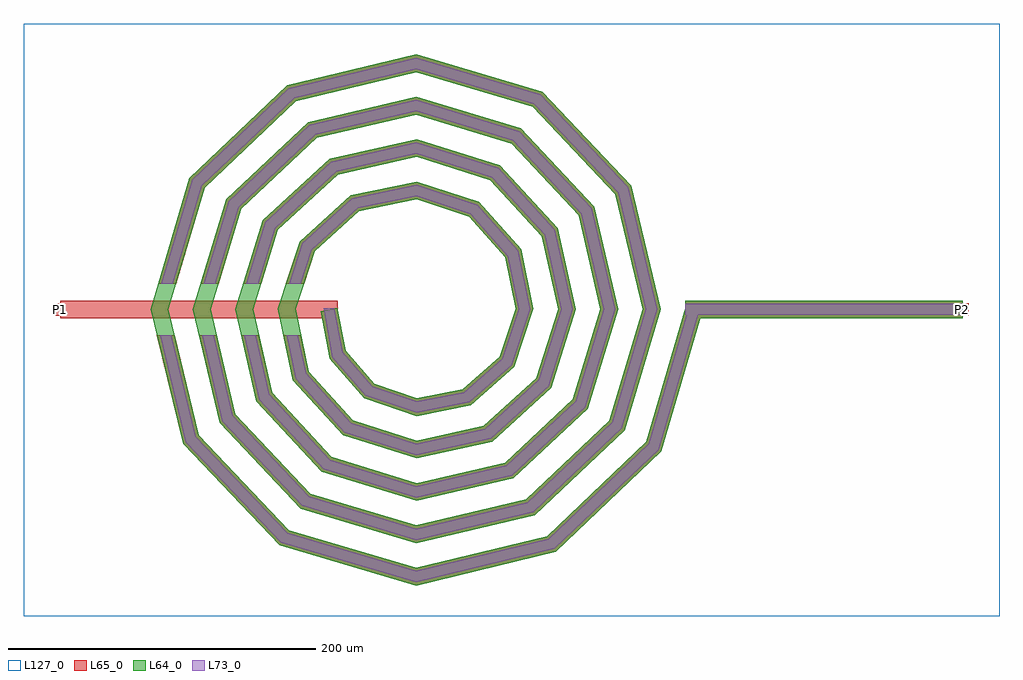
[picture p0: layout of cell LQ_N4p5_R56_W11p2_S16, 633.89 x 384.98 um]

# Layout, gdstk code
import gdstk
lib = gdstk.Library(unit=1e-6, precision=1e-09)
def R(c, l, rs):  # rectangles x0, y0, x1, y1
    for r in rs: c.add(gdstk.rectangle(r[:2], r[2:], *l))
def P(c, l, *ps):  # polygons
    for p in ps: c.add(gdstk.Polygon(p, *l))
L64_0 = (64, 0)
L65_0 = (65, 0)
L73_0 = (73, 0)
L127_0 = (127, 0)

lq_n4p5_r56_w11p2_s16 = lib.new_cell('LQ_N4p5_R56_W11p2_S16')
R(lq_n4p5_r56_w11p2_s16, L64_0, [(174.849,-5.6,354.849,5.6)])
P(lq_n4p5_r56_w11p2_s16, L64_0, [(-45.82,-26.939),(-27.371,-48.217),(0.39,-57.735),(30.339,-51.797),(54.152,-30.844),(64.611,0.352),(57.769,33.747),(34.312,60.09),(0.321,71.487),(-37.16,63.739),(-66.032,37.774),(-78.364,0.294),(-69.707,-40.577),(-41.233,-71.976),(0.272,-85.242),(43.997,-75.674),(77.922,-44.689),(92.119,0.253),(81.639,47.42),(48.142,83.869),(0.237,98.996),(-50.845,87.603),(-89.817,51.594),(-105.874,0.222),(-93.566,-54.272),(-55.045,-95.767),(0.209,-112.752),(57.7,-99.529),(101.717,-58.494),(119.629,0.198),(105.491,61.129),(61.942,107.668),(0.187,126.507),(-64.559,111.452),(-113.62,65.389),(-133.385,0.178),(-117.413,-67.991),(-68.836,-119.572),(0.17,-140.263),(71.423,-123.373),(125.525,-72.282),(147.141,0.162),(129.333,74.855),(75.727,131.477),(0.155,154.019),(-78.288,135.293),(-137.431,79.171),(-160.897,0.149),(-141.253,-81.722),(-82.616,-143.384),(0.143,-167.775),(85.156,-147.212),(149.338,-86.059),(175.076,1.578),(185.822,-1.578),(159.238,-92.097),(90.708,-157.392),(0.143,-179.367),(-88.662,-153.278),(-151.438,-87.264),(-172.489,0.149),(-147.318,85.229),(-83.819,145.485),(0.155,165.61),(81.795,141.358),(139.531,80.374),(158.732,0.162),(135.398,-78.362),(76.928,-133.578),(0.17,-151.854),(-74.93,-129.437),(-127.626,-73.482),(-144.976,0.178),(-123.476,71.498),(-70.035,121.673),(0.187,138.097),(68.067,117.515),(115.721,66.588),(131.219,0.198),(111.552,-64.637),(63.139,-109.77),(0.209,-124.34),(-61.208,-105.59),(-103.819,-59.689),(-117.462,0.222),(-99.626,57.781),(-56.238,97.869),(0.237,110.583),(54.355,93.661),(91.92,52.784),(103.705,0.253),(87.695,-50.93),(49.329,-85.972),(0.272,-96.826),(-47.508,-81.728),(-80.025,-45.872),(-89.947,0.294),(-75.759,44.089),(-42.411,74.08),(0.321,83.067),(40.673,69.787),(68.137,38.945),(76.188,0.352),(63.813,-37.262),(35.475,-62.196),(0.39,-69.308),(-33.857,-57.834),(-56.259,-31.996),(-62.145,-1.046),(-51.142,1.046)])
R(lq_n4p5_r56_w11p2_s16, L65_0, [(-231.043,-5.6,-51.043,5.6), (174.849,-5.6,354.849,5.6), (-235.043,-4,-227.043,4), (350.849,-4,358.849,4)])
P(lq_n4p5_r56_w11p2_s16, L65_0, [(-141.253,-81.722),(-82.616,-143.384),(0.143,-167.775),(85.156,-147.212),(149.338,-86.06),(175.076,1.578),(185.822,-1.578),(159.238,-92.097),(90.708,-157.392),(0.143,-179.367),(-88.662,-153.278),(-151.438,-87.264),(-168.407,-16.8),(-156.887,-16.8)],
  [(-117.413,-67.991),(-68.836,-119.572),(0.17,-140.263),(71.423,-123.373),(125.525,-72.282),(147.141,0.162),(129.333,74.855),(75.727,131.477),(0.155,154.019),(-78.288,135.293),(-137.431,79.171),(-155.883,16.8),(-167.562,16.8),(-147.319,85.229),(-83.819,145.485),(0.155,165.61),(81.795,141.359),(139.532,80.374),(158.732,0.162),(135.398,-78.362),(76.929,-133.578),(0.17,-151.854),(-74.93,-129.437),(-127.626,-73.482),(-140.977,-16.8),(-129.47,-16.8)],
  [(-93.566,-54.272),(-55.045,-95.767),(0.209,-112.752),(57.7,-99.529),(101.717,-58.494),(119.629,0.198),(105.491,61.129),(61.942,107.668),(0.187,126.507),(-64.559,111.452),(-113.62,65.389),(-128.267,16.8),(-139.965,16.8),(-123.476,71.498),(-70.035,121.673),(0.187,138.097),(68.067,117.515),(115.721,66.588),(131.219,0.198),(111.553,-64.637),(63.139,-109.77),(0.209,-124.34),(-61.208,-105.59),(-103.819,-59.689),(-113.586,-16.8),(-102.099,-16.8)],
  [(-69.707,-40.577),(-41.233,-71.976),(0.272,-85.242),(43.997,-75.674),(77.922,-44.689),(92.119,0.253),(81.639,47.42),(48.143,83.869),(0.237,98.996),(-50.845,87.603),(-89.818,51.594),(-100.599,16.8),(-112.325,16.8),(-99.626,57.781),(-56.238,97.869),(0.237,110.583),(54.355,93.661),(91.92,52.785),(103.705,0.253),(87.695,-50.93),(49.329,-85.972),(0.272,-96.826),(-47.508,-81.728),(-80.025,-45.872),(-86.273,-16.8),(-74.817,-16.8)],
  [(-27.371,-48.217),(0.39,-57.735),(30.339,-51.797),(54.152,-30.845),(64.611,0.352),(57.769,33.747),(34.312,60.09),(0.321,71.488),(-37.16,63.739),(-66.032,37.774),(-72.826,16.8),(-84.6,16.8),(-75.759,44.089),(-42.411,74.08),(0.321,83.067),(40.673,69.787),(68.137,38.945),(76.188,0.352),(63.813,-37.262),(35.475,-62.196),(0.39,-69.308),(-33.857,-57.834),(-56.26,-31.996),(-62.145,-1.046),(-51.142,1.046),(-45.82,-26.939)])
R(lq_n4p5_r56_w11p2_s16, L73_0, [(174.849,-3.6,354.849,3.6)])
P(lq_n4p5_r56_w11p2_s16, L73_0, [(-143.072,-82.711),(-83.695,-145.151),(0.092,-169.845),(86.147,-149.03),(151.106,-87.138),(176.995,1.014),(183.903,-1.014),(157.47,-91.019),(89.716,-155.574),(0.092,-177.297),(-87.583,-151.511),(-149.62,-86.274),(-166.35,-16.8),(-158.944,-16.8)],
  [(-119.236,-68.971),(-69.924,-121.334),(0.109,-142.333),(72.406,-125.196),(127.288,-73.367),(149.211,0.104),(131.154,75.841),(76.81,133.242),(0.1,156.089),(-79.276,137.113),(-139.196,80.253),(-157.968,16.8),(-165.477,16.8),(-145.553,84.147),(-82.831,143.665),(0.1,163.54),(80.712,139.594),(137.71,79.389),(156.662,0.104),(133.635,-77.276),(75.945,-131.756),(0.109,-149.784),(-73.842,-127.676),(-125.802,-72.502),(-138.922,-16.8),(-131.525,-16.8)],
  [(-95.397,-55.239),(-56.146,-97.521),(0.134,-114.821),(58.671,-101.358),(103.474,-59.591),(121.699,0.127),(107.318,62.104),(63.036,109.427),(0.121,128.577),(-65.537,113.277),(-115.38,66.48),(-130.356,16.8),(-137.876,16.8),(-121.716,70.407),(-69.058,119.848),(0.121,136.028),(66.974,115.756),(113.895,65.613),(129.149,0.127),(109.796,-63.54),(62.168,-107.941),(0.134,-122.271),(-60.108,-103.836),(-101.988,-58.722),(-111.535,-16.8),(-104.15,-16.8)],
  [(-71.55,-41.522),(-42.353,-73.717),(0.175,-87.31),(44.949,-77.513),(79.667,-45.803),(94.188,0.163),(83.475,48.378),(49.252,85.618),(0.152,101.066),(-51.808,89.436),(-91.569,52.699),(-102.693,16.8),(-110.231,16.8),(-97.874,56.676),(-55.275,96.036),(0.152,108.514),(53.245,91.913),(90.084,51.827),(101.636,0.163),(85.95,-49.816),(48.377,-84.133),(0.175,-94.757),(-46.388,-79.987),(-78.183,-44.926),(-84.227,-16.8),(-76.863,-16.8)],
  [(-28.53,-49.935),(0.251,-59.802),(31.256,-53.654),(55.877,-31.991),(66.678,0.226),(59.621,34.675),(35.448,61.822),(0.206,73.555),(-38.097,65.586),(-67.769,38.902),(-74.929,16.8),(-82.497,16.8),(-74.022,42.961),(-41.473,72.234),(0.206,81),(39.537,68.056),(66.286,38.017),(74.12,0.226),(62.087,-36.116),(34.558,-60.339),(0.251,-67.241),(-32.699,-56.116),(-54.395,-31.093),(-60.18,0.673),(-53.107,0.673),(-47.685,-27.843)])
R(lq_n4p5_r56_w11p2_s16, L127_0, [(-255.043,-199.367,378.849,185.61)])
lq_n4p5_r56_w11p2_s16.add(gdstk.Label('P2', (354.849,0), layer=65, texttype=0))
lq_n4p5_r56_w11p2_s16.add(gdstk.Label('P1', (-231.043,0), layer=65, texttype=0))
lq_n4p5_r56_w11p2_s16.add(gdstk.Label('P2', (358.849,0), layer=145, texttype=0))
lq_n4p5_r56_w11p2_s16.add(gdstk.Label('P1', (-235.043,0), layer=145, texttype=0))

lib.write_gds('LQ_N4p5_R56_W11p2_S16.gds')
